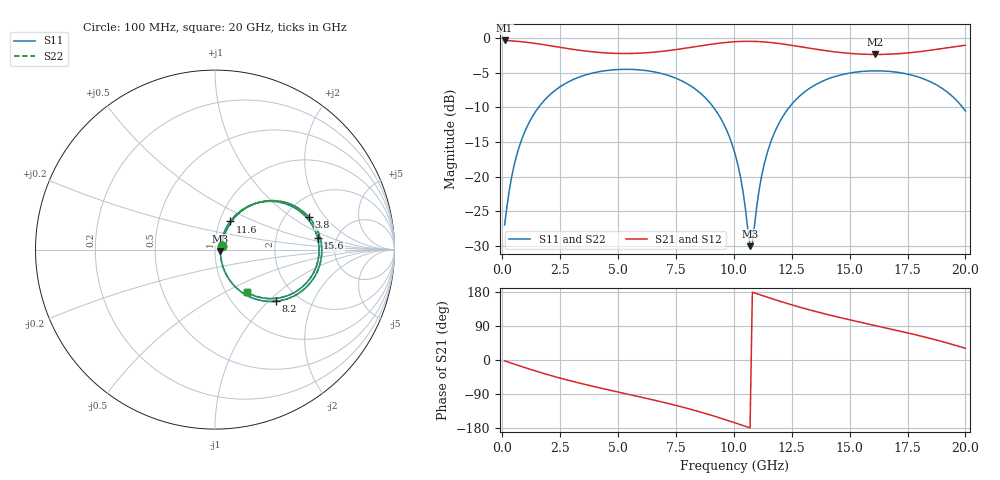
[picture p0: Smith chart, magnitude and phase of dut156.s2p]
! Touchstone file exported from HFSS 2026.1.0
!  File:  C:/ffzhzh/LocalFiles/Ansys_Project_Files/temp_train_TSV_RDL_156_1783052877_18316.aedt
!  Generated:  12:59:08 PM Jul  3, 2026
!  Design:  TSV_RDL
!  Project:  temp_train_TSV_RDL_156_1783052877_18316
! Variables:
!  h_bsmrdl = 2.13um
!  h_ox = 20um
!  h_rdl = 5um
!  h_sub = 91.73um
!  h_tmrdl = 3.9um
!  h_tsv = 91.73um
!  h_via = 3um
!  l_bsmrdl = 741.2um
!  l_sub = 5548.86um
!  l_tmrdl = 693.53um
!  m_sub = 200um
!  pitch = 56.74um
!  r_tsv = 2.16um
!  s_tmrdl = 10um
!  w_bsmrdl = 26.11um
!  w_sub = 500um
!  w_tmrdl = 24.27um
!  x_tsv_center1 = 705.665um
!  x_tsv_center2 = 1472.975um
!  x_tsv_center3 = 2190.775um
!  x_tsv_center4 = 2958.085um
!  x_tsv_center5 = 3675.885um
!  x_tsv_center6 = 4443.195um
# GHz S MA R 50.000000
! Terminal data exported
! Port[1] = TM_RDL1_1_T1
! Port[2] = TM_RDL5_1_T1
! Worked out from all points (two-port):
!   200 points, 100 MHz to 20 GHz, reference 50 ohm
!   highest |S21| = -0.34 dB at 100 MHz (marker M1); lowest = -2.4 dB at 16.1 GHz (marker M2)
!   |S21| within 3 dB of the highest: start of sweep to end of sweep
!   lowest |S11| = -30.1 dB at 10.7 GHz (marker M3), VSWR 1.06, Z = 53.1 - j0.9 ohm
!   |S11| at or under -10 dB: start of sweep to 1.568 GHz; 9.12 GHz to 12.39 GHz (3.271 GHz wide, 30.4 % of centre); 19.88 GHz to end of sweep
!   |S22| runs from -30.0 to -4.5 dB; largest |S21 - S12| = 1.6e-14
!   S11 on the Smith chart (normalised r, x): 100 MHz: 1.08, +0.05; 3.8 GHz: 2.67, +1.39; 8.2 GHz: 1.54, -1.11; 11.6 GHz: 1.12, +0.36; 15.6 GHz: 3.58, +0.67; 20 GHz: 1.25, -0.65
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0.1  0.04473 29.4  0.9616 -2.2  0.9616 -2.2  0.04473 29.4
! Gamma 0 0 0 0
! Port Impedance 50 0 50 0
0.5  0.1185 59.2  0.9527 -10.5  0.9527 -10.5  0.1185 59.2
1.2  0.253 56.0  0.9263 -24.5  0.9263 -24.5  0.253 56.0
3.5  0.5356 23.1  0.8101 -63.5  0.8101 -63.5  0.5356 23.1
3.8  0.5539 19.0  0.7992 -67.8  0.7992 -67.8  0.5539 19.0
5.3  0.5949 -0.5  0.7737 -88.6  0.7737 -88.6  0.5949 -0.5
6.8  0.559 -20.2  0.7987 -109.3  0.7987 -109.3  0.559 -20.1
8.2  0.4445 -40.4  0.8602 -131.1  0.8602 -131.1  0.4445 -40.3
9.3  0.2862 -57.4  0.9159 -150.9  0.9159 -150.9  0.2862 -57.4
10.1  0.1364 -66.0  0.9429 -166.8  0.9429 -166.8  0.1364 -66.0
10.4  0.07729 -61.7  0.9474 -172.9  0.9474 -172.9  0.07733 -61.6
10.7  0.03141 -15.6  0.9482 -179.1  0.9482 -179.1  0.03148 -15.6
10.8  0.03304 20.4  0.9477 178.8  0.9477 178.8  0.03311 20.4
11.2  0.1009 61.7  0.9413 170.7  0.9413 170.7  0.1009 61.7
11.6  0.1785 61.6  0.9291 162.6  0.9291 162.6  0.1785 61.6
12.3  0.3018 52.6  0.8973 149.2  0.8973 149.2  0.3018 52.6
13.4  0.4477 36.1  0.8385 130.1  0.8385 130.1  0.4477 36.1
15.6  0.5756 6.2  0.7647 97.8  0.7647 97.8  0.5756 6.3
16.1  0.5802 -0.1  0.7616 91.0  0.7616 91.0  0.5802 -0.1
16.7  0.5751 -7.7  0.7649 82.9  0.7649 82.9  0.5751 -7.7
18.6  0.4739 -33.2  0.8219 55.1  0.8219 55.1  0.4739 -33.1
20  0.2975 -53.2  0.8879 30.9  0.8879 30.9  0.2976 -53.1
